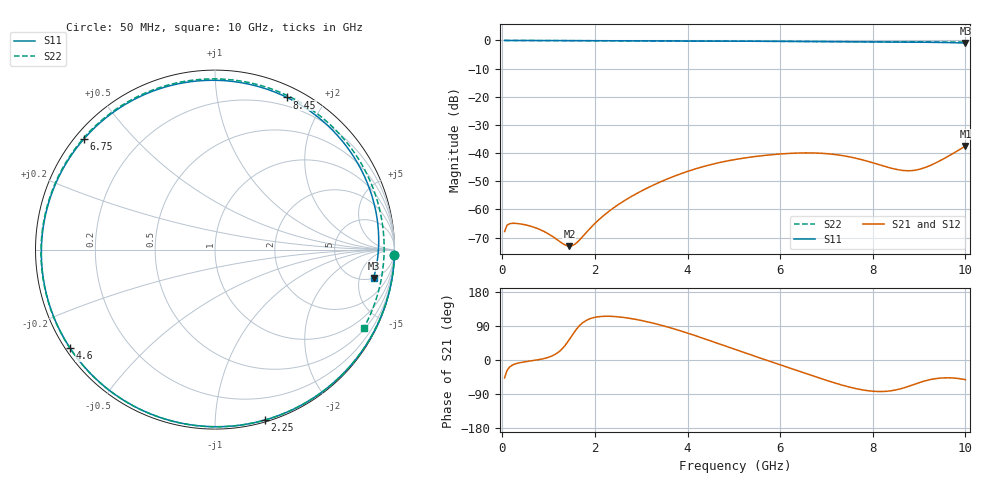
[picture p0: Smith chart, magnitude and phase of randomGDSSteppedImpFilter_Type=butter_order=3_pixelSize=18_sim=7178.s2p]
! freq	dB(S11)	phase(S11)	dB(S12)	phase(S12)
!  dB(S21)	phase(S21)	dB(S22)	phase(S22)
!S-par simulation data
#  GHz  S  DB  R 50
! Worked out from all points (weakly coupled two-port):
!   200 points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, 50 MHz to 10 GHz, reference 50 ohm
!   highest |S21| = -37.51 dB at 10 GHz (marker M1); lowest = -73.1 dB at 1.45 GHz (marker M2)
!   lowest |S11| = -0.9 dB at 10 GHz (marker M3), VSWR 18.57, Z = 253 - j411 ohm
!   |S11| at or under -10 dB: nowhere
!   |S22| runs from -0.6 to 0.0 dB; largest |S21 - S12| = 0
!   S11 on the Smith chart (normalised r, x): 50 MHz: 0, -68; 2.25 GHz: 0.01, -1.34; 4.6 GHz: 0.01, -0.31; 6.75 GHz: 0.03, +0.36; 8.45 GHz: 0.11, +1.57; 10 GHz: 5.05, -8.22
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0.05  -0.00 -1.7  -67.88 -47.1  -67.88 -47.1  -0.00 -1.8
0.15  -0.00 -5.1  -65.13 -19.5  -65.13 -19.5  -0.00 -5.5
0.5  -0.01 -16.8  -65.49 -4.6  -65.49 -4.6  -0.02 -18.3
1.45  -0.06 -48.1  -73.06 54.5  -73.06 54.5  -0.07 -52.1
1.75  -0.07 -57.8  -69.38 99.5  -69.38 99.5  -0.08 -62.6
2.25  -0.09 -73.6  -61.35 115.5  -61.35 115.5  -0.10 -79.9
2.8  -0.12 -90.7  -55.29 109.0  -55.29 109.0  -0.13 -98.5
3.4  -0.14 -109.1  -50.33 92.8  -50.33 92.8  -0.15 -118.7
4.6  -0.21 -145.9  -43.71 46.1  -43.71 46.1  -0.23 -159.7
5.05  -0.24 -160.1  -42.22 26.9  -42.22 26.9  -0.26 -175.9
5.85  -0.31 173.3  -40.52 -6.5  -40.52 -6.5  -0.33 153.7
6.7  -0.39 141.9  -39.95 -41.5  -39.95 -41.5  -0.39 118.1
6.75  -0.39 140.0  -39.97 -43.6  -39.97 -43.6  -0.40 115.9
7.15  -0.43 123.7  -40.44 -59.5  -40.44 -59.5  -0.42 97.9
7.55  -0.47 106.5  -41.52 -73.1  -41.52 -73.1  -0.45 79.3
7.95  -0.51 88.4  -43.19 -81.9  -43.19 -81.9  -0.46 60.5
8.35  -0.55 69.5  -45.14 -82.0  -45.14 -82.0  -0.48 41.8
8.45  -0.56 64.7  -45.57 -80.2  -45.57 -80.2  -0.48 37.2
8.85  -0.60 45.3  -46.21 -66.2  -46.21 -66.2  -0.49 19.0
9.25  -0.66 25.8  -44.34 -51.5  -44.34 -51.5  -0.51 1.7
9.65  -0.76 6.5  -40.93 -47.0  -40.93 -47.0  -0.54 -14.6
10  -0.94 -10.1  -37.51 -51.9  -37.51 -51.9  -0.57 -27.9
